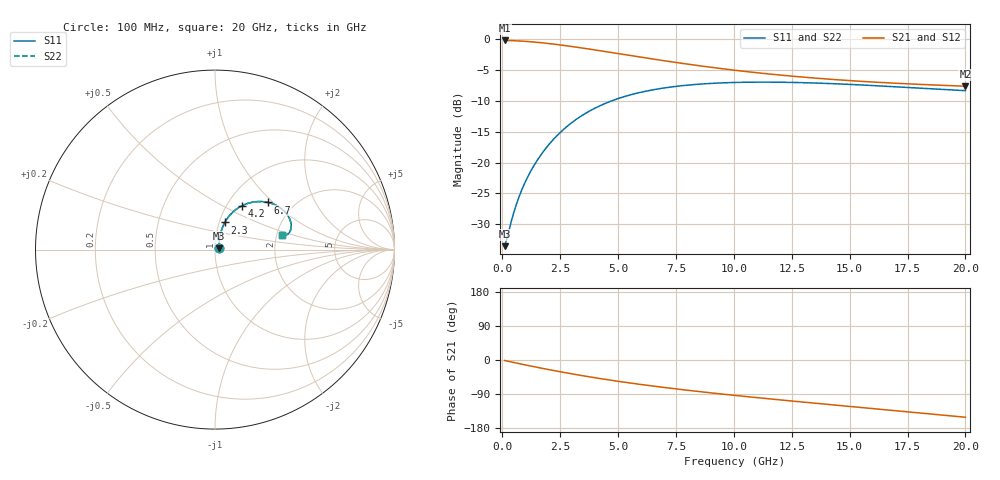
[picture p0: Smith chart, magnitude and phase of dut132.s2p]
! Touchstone file exported from HFSS 2024.1.0
!  File:  C:/UserFiles/LocalFiles/RDL_TSV_Batchsim/temp_RDL_TSV_132_1779427714.aedt
!  Generated:  01:46:27 PM May 22, 2026
!  Design:  RDL_TSV
!  Project:  temp_RDL_TSV_132_1779427714
!  Setup:  Setup1
!  Solution:  Sweep
! Variables:
!  dtsv = 6.27um
!  hbump = 3um
!  htsv = 63.96um
!  ldown = 367.86um
!  lrdl = 252.09um
!  p = 40
!  p1 = 55.4um
!  rhole = 10um
!  subl = 2111.94um
!  t = 450um
!  tdown = 4.81um
!  trdl = 2.06um
!  viad = 10um
!  wdown = 15.82um
!  wrdl = 12.66um
!  xbump = 18um
# GHz S MA R 50.000000
! Terminal data exported
! Port[1] = TM1_1_T1
! Port[2] = TM1_4_T1
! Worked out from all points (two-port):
!   200 points, 100 MHz to 20 GHz, reference 50 ohm
!   highest |S21| = -0.18 dB at 100 MHz (marker M1); lowest = -7.6 dB at 20 GHz (marker M2)
!   |S21| within 3 dB of the highest: start of sweep to 6.482 GHz
!   lowest |S11| = -33.6 dB at 100 MHz (marker M3), VSWR 1.04, Z = 52 + j0.702 ohm
!   |S11| at or under -10 dB: start of sweep to 4.71 GHz
!   |S22| runs from -33.6 to -7.0 dB; largest |S21 - S12| = 1.2e-14
!   S11 on the Smith chart (normalised r, x): 100 MHz: 1.04, +0.01; 2.3 GHz: 1.06, +0.33; 4.2 GHz: 1.18, +0.63; 6.7 GHz: 1.49, +0.93; 20 GHz: 2.14, +0.42
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0.1  0.02098 18.8  0.98 -1.3  0.98 -1.3  0.02098 18.8
! Gamma 0 0 0 0
! Port Impedance 50 0 50 0
0.2  0.02425 33.6  0.9793 -2.7  0.9793 -2.7  0.02425 33.6
0.4  0.03395 51.2  0.977 -5.3  0.977 -5.3  0.03395 51.2
0.6  0.04532 60.1  0.9735 -7.9  0.9735 -7.9  0.04533 60.1
0.8  0.05746 65.1  0.9691 -10.5  0.9691 -10.5  0.05746 65.1
1  0.07015 68.2  0.9638 -13.0  0.9638 -13.0  0.07015 68.1
1.3  0.09004 70.6  0.9542 -16.8  0.9542 -16.8  0.09003 70.5
1.6  0.1108 71.4  0.9429 -20.5  0.9429 -20.5  0.1107 71.4
1.9  0.1321 71.3  0.9301 -24.1  0.9301 -24.1  0.132 71.3
2.3  0.1609 70.1  0.9114 -28.8  0.9114 -28.8  0.1609 70.1
2.9  0.2039 67.1  0.8808 -35.5  0.8808 -35.5  0.2038 67.0
3.5  0.2449 63.2  0.8484 -41.8  0.8484 -41.8  0.2447 63.1
4.2  0.2883 58.2  0.8101 -48.7  0.8101 -48.7  0.288 58.2
5.3  0.3446 50.5  0.7516 -58.8  0.7516 -58.8  0.3442 50.4
6.7  0.3955 41.7  0.6838 -70.3  0.6838 -70.3  0.395 41.6
6.8  0.3983 41.1  0.6794 -71.0  0.6794 -71.0  0.3978 41.0
8.4  0.4316 32.8  0.6148 -82.6  0.6148 -82.6  0.4309 32.8
10.1  0.4474 25.8  0.5601 -93.8  0.5601 -93.8  0.4467 25.7
11.7  0.4497 20.7  0.5198 -103.5  0.5198 -103.5  0.4489 20.6
13.4  0.4431 16.5  0.4868 -113.4  0.4868 -113.4  0.4422 16.5
16.7  0.4152 12.1  0.4433 -132.1  0.4433 -132.1  0.4141 12.0
20  0.3838 12.5  0.4169 -151.0  0.4169 -151.0  0.3827 12.5
